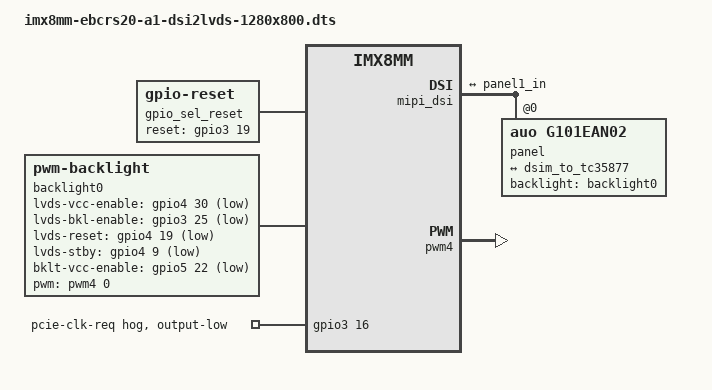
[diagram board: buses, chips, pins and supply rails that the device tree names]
/*
 * Copyright 2018 NXP
 *
 * This program is free software; you can redistribute it and/or
 * modify it under the terms of the GNU General Public License
 * as published by the Free Software Foundation; either version 2
 * of the License, or (at your option) any later version.
 *
 * This program is distributed in the hope that it will be useful,
 * but WITHOUT ANY WARRANTY; without even the implied warranty of
 * MERCHANTABILITY or FITNESS FOR A PARTICULAR PURPOSE.  See the
 * GNU General Public License for more details.
 */

#include "imx8mm-ebcrs20-a1.dts"

/ {
	/delete-node/ rtl8367;

	gpio_sel_reset: gpio-sel-reset {
		compatible = "gpio-reset";
		reset-gpios = <&gpio3 19 GPIO_ACTIVE_HIGH>;
		reset-delay-us = <0>;
		reset-post-delay-ms = <0>;
		#reset-cells = <0>;
	};

	backlight0: backlight@0 {
                compatible = "pwm-backlight";
                pwms = <&pwm4 0 1000000 0>;
                brightness-levels = < 0  1  2  3  4  5  6  7  8  9
                             10 11 12 13 14 15 16 17 18 19
                             20 21 22 23 24 25 26 27 28 29
                             30 31 32 33 34 35 36 37 38 39
                             40 41 42 43 44 45 46 47 48 49
                             50 51 52 53 54 55 56 57 58 59
                             60 61 62 63 64 65 66 67 68 69
                             70 71 72 73 74 75 76 77 78 79
                             80 81 82 83 84 85 86 87 88 89
                             90 91 92 93 94 95 96 97 98 99
                            100>;
                default-brightness-level = <80>;
                default-enable = <0>;
        };
};

// &uart3_mode {
// 	default_mode = <1>;
// };

&fec1 {
	/delete-property/ fsl,magic-packet;
};

// &lt9611uxc {
// 	status = "disabled";
// 	/delete-node/ ports;
// };

&mipi_dsi {
	/delete-node/ port@1;

	panel@0 {
		compatible = "auo,g101ean02";
		reg = <0>;
		backlight=<&backlight0>;
		panel-init-sequence = [
			29 00 06 3C 01 05 00 03	00
			29 00 06 14 01 03 00 00	00
			29 00 06 64 01 05 00 00	00
			29 00 06 68 01 05 00 00	00
			29 00 06 6C 01 05 00 00	00
			29 00 06 70 01 05 00 00	00
			29 00 06 34 01 1F 00 00	00
			29 00 06 10 02 1F 00 00	00
			29 00 06 04 01 01 00 00	00
			29 00 06 04 02 01 00 00	00
			29 00 06 50 04 20 01 F0	03
			29 00 06 54 04 0A 00 0A	00
			29 00 06 58 04 00 05 8C	00
			29 00 06 5C 04 04 00 04	00
			29 00 06 60 04 20 03 0F	00
			29 00 06 64 04 01 00 00	00
			29 01 06 A0 04 06 80 44	00
			29 00 06 A0 04 06 80 04	00
			29 00 06 04 05 04 00 00	00
			29 00 06 80 04 00 01 02	03
			29 00 06 84 04 04 07 05	08
			29 00 06 88 04 09 0A 0E	0F
			29 00 06 8C 04 0B 0C 0D	10
			29 00 06 90 04 16 17 11	12
			29 00 06 94 04 13 14 15	1B
			29 14 06 98 04 18 19 1A	06
			29 78 06 9C 04 31 00 00	00
		];
		panel-on-sequence = [
			05 78 01 11
			05 78 01 29
		];
		panel-off-sequence = [
			05 05 01 28
			05 78 01 10
		];

		port {
			panel1_in: endpoint {
				remote-endpoint = <&dsim_to_tc35877>;
			};
		};
	};

	port@1 {
		dsim_to_tc35877: endpoint {
			remote-endpoint = <&panel1_in>;
		};
	};
};

&pwm4 {
	status = "okay";
};

&backlight0 {
	pinctrl-names = "default";
	pinctrl-0 = <&pinctrl_bkl>;
	lvds-vcc-enable-gpios = <&gpio4 30 1>;
	lvds-bkl-enable-gpios = <&gpio3 25 1>;
	lvds-reset-gpios = <&gpio4 19 1>;
	lvds-stby-gpios  = <&gpio4 9 1>;
	bklt-vcc-enable-gpios = <&gpio5 22 1>;
	status = "okay";
	lvds-bkl-delay-time = <150>;
	lvds-vcc-delay-time = <60>;
};

&usdhc1 {
	/delete-property/ keep-power-in-suspend;
};

// &gpio2 {
// 	pinctrl-names = "default";
// 	pinctrl-0 = <&pinctrl_gpio_hog>;

// 	host-bt-wake {
// 		gpio-hog;
// 		gpios = <7 GPIO_ACTIVE_HIGH>;
// 		output-low;
// 		line-name = "host-bt-wake";
// 	};

// 	bt-wake-host {
// 		gpio-hog;
// 		gpios = <8 GPIO_ACTIVE_HIGH>;
// 		output-low;
// 		line-name = "bt-wake-host";
// 	};
// };

&gpio3 {
	pcie-clk-req {
		gpio-hog;
		gpios = <16 GPIO_ACTIVE_HIGH>;
		output-low;
		line-name = "pcie-clk-req";
	};
};

&iomuxc {
	pinctrl_gpio_hog: hogmux {
		fsl,pins = <
			MX8MM_IOMUXC_NAND_READY_B_GPIO3_IO16	0x41	/* PCIE_ZCLKREQ */
		>;
	};

	pinctrl_bkl: bklgrp {
		fsl,pins = <
			MX8MM_IOMUXC_SAI3_RXD_GPIO4_IO30	0x10		/* LCD0_VDD_EN */
			MX8MM_IOMUXC_UART1_RXD_GPIO5_IO22	0x19		/* LCD0_BKLT_PWR_EN */
			MX8MM_IOMUXC_SAI5_MCLK_GPIO3_IO25	0x19		/* LCD0_BKLT_EN */
			MX8MM_IOMUXC_SAI1_RXD7_GPIO4_IO9	0x116	    /* LVDS_STBY -> SAI6_MCLK */
			MX8MM_IOMUXC_SAI1_TXD7_GPIO4_IO19	0x19		/* LVDS_RESET -> SAI1_TXD7 */
		>;
	};
};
